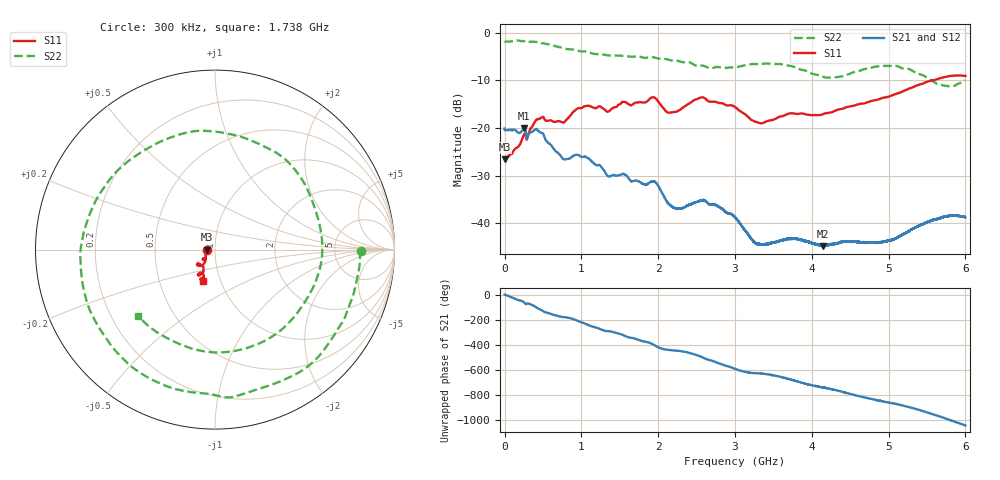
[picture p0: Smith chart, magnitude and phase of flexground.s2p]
!  8/6/2020  04:06:45
! Ref Plane: 0.000 mm
# MHZ S MA R  50
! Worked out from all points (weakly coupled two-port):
!   10001 points, 300 kHz to 6 GHz, reference 50 ohm
!   highest |S21| = -19.98 dB at 254.1 MHz (marker M1); lowest = -44.8 dB at 4.142 GHz (marker M2)
!   lowest |S11| = -26.5 dB at 300 kHz (marker M3), VSWR 1.10, Z = 45.5 - j0.0391 ohm
!   |S11| at or under -10 dB: start of sweep to 5.572 GHz
!   |S22| runs from -11.2 to -1.6 dB; largest |S21 - S12| = 0.0031
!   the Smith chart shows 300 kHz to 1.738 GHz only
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0.3  0.04719 -179.5  0.09911 -1.0  0.09604 -1.0  0.813 -0.5
254.0873  0.08624 -136.4  0.1002 -62.7  0.1002 -63.0  0.8159 -76.1
589.4705  0.1209 -137.8  0.06836 -151.9  0.06857 -152.0  0.7521 -176.6
815.0593  0.1244 -121.4  0.04757 175.7  0.04773 175.6  0.6753 120.1
1000.45  0.1617 -120.9  0.04976 137.9  0.04986 137.8  0.6378 67.8
1250.037  0.1682 -124.1  0.04002 82.1  0.04008 82.0  0.5972 -4.0
1526.024  0.1862 -111.4  0.03295 41.0  0.03303 41.1  0.575 -81.8
1770.812  0.1876 -111.7  0.02707 -7.5  0.02712 -7.6  0.5586 -147.7
2000.6  0.19 -120.4  0.02479 -60.9  0.02482 -61.1  0.538 153.2
2260.987  0.1523 -96.7  0.01427 -89.6  0.01429 -89.7  0.5071 86.1
2554.972  0.2097 -94.2  0.01745 -135.3  0.01753 -135.4  0.4536 3.7
2783.561  0.1849 -97.7  0.01511 172.3  0.0151 172.0  0.438 -64.9
3000.15  0.1663 -97.2  0.01159 126.4  0.01159 126.5  0.4346 -129.1
3240.738  0.1186 -87.4  0.006475 92.0  0.006498 92.5  0.4708 166.5
3534.123  0.126 -58.1  0.006401 70.7  0.006421 70.6  0.471 95.0
4000.3  0.1368 -42.2  0.006208 -3.9  0.006237 -3.8  0.3737 -25.4
4142.493  0.1398 -32.3  0.005781 -21.6  0.005861 -21.1  0.3462 -69.6
4533.073  0.1709 -15.2  0.00644 -78.2  0.006452 -78.5  0.3838 165.8
5000.45  0.214 -1.4  0.006633 -141.9  0.006618 -142.1  0.4487 52.4
5258.437  0.2584 4.7  0.008255 -176.6  0.008261 -176.9  0.4188 -5.7
5520.024  0.3101 4.9  0.01049 135.2  0.0105 135.5  0.3318 -74.1
6000  0.3524 -5.5  0.01161 35.0  0.0117 35.1  0.3166 122.8
